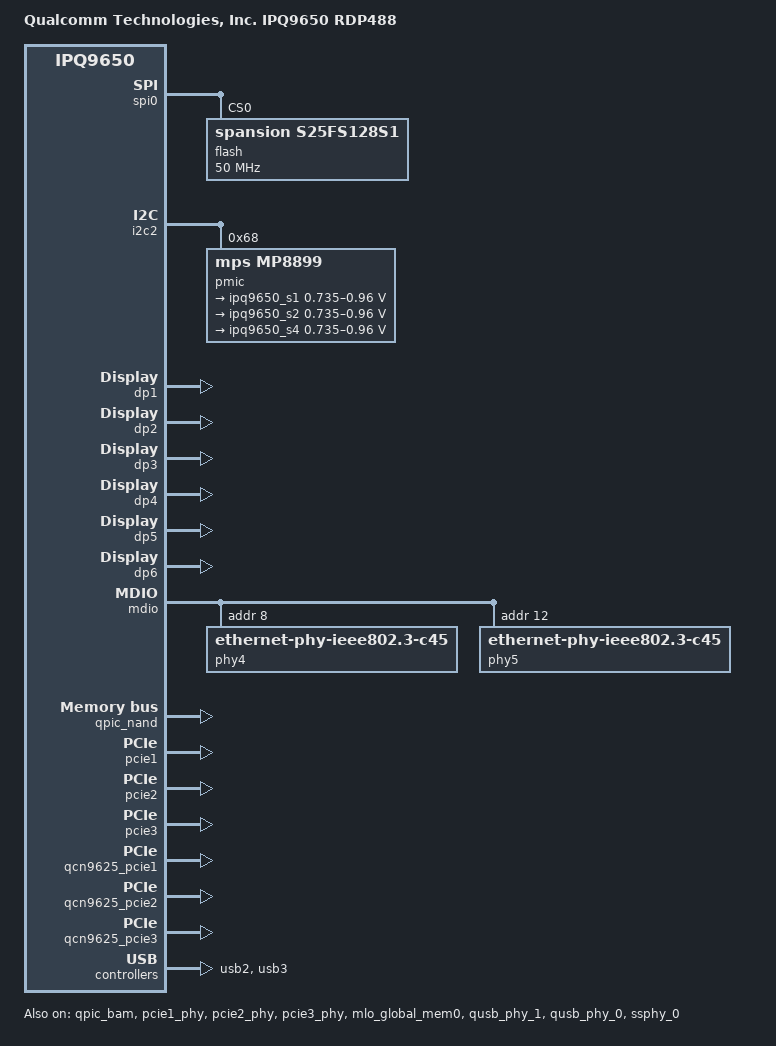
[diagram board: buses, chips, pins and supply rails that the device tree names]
// SPDX-License-Identifier: (GPL-2.0+ OR BSD-3-Clause)
/*
 * IPQ9650 RDP488 board device tree source
 *
 * Copyright (c) 2020-2021 The Linux Foundation. All rights reserved.
 * Copyright (c) Qualcomm Technologies, Inc. and/or its subsidiaries.
 */

/dts-v1/;

#include "ipq9650-rdp-common.dtsi"
#ifdef __IPQ_MEM_PROFILE_512_MB__
#include "ipq9650-512MB-default-memory.dtsi"
#else
#include "ipq9650-default-memory.dtsi"
#endif

/ {
	model = "Qualcomm Technologies, Inc. IPQ9650 RDP488";
	compatible = "qcom,ipq9650-rdp488", "qcom,ipq9650";

	aliases {
		ethernet0 = "/soc/dp1";
		ethernet1 = "/soc/dp2";
		ethernet2 = "/soc/dp3";
		ethernet3 = "/soc/dp4";
		ethernet4 = "/soc/dp5";
		ethernet5 = "/soc/dp6";
	};

	soc@0 {
		qupv3: geniqup@1ac0000 {
			status = "okay";

			spi0: spi@1a80000 {
				pinctrl-0 = <&qup_spi0_default>;
				pinctrl-names = "default";
				status = "okay";

				flash@0 {
					compatible = "spansion,s25fs128s1", "jedec,spi-nor";
					#address-cells = <1>;
					#size-cells = <1>;
					reg = <0>;
					spi-max-frequency = <50000000>;
				};
			};

			i2c0: i2c@1a84000 {
				pinctrl-0 = <&qup_i2c0_default>;
				pinctrl-names = "default";
				status = "disabled";
			};

			i2c2: i2c@1a8c000 {
				pinctrl-0 = <&qup_i2c2_default>;
				pinctrl-names = "default";
				status = "okay";

				pmic@68 {
					compatible = "mps,mp8899";
					reg = <0x68>;

					regulators {
						/* APC_CX */
						ipq9650_s1: buck1 {
							regulator-name = "buck1";
							regulator-min-microvolt = <735000>;
							regulator-max-microvolt = <960000>;
							regulator-always-on;
							regulator-boot-on;
						};

						/* NSP_CX */
						ipq9650_s2: buck2 {
							regulator-name = "buck2";
							regulator-min-microvolt = <735000>;
							regulator-max-microvolt = <960000>;
						};

						/* NSP_MX */
						ipq9650_s4: buck4 {
							regulator-name = "buck4";
							regulator-min-microvolt = <735000>;
							regulator-max-microvolt = <960000>;
						};
					};
				};
			};
		};

		dp1 {
			device_type = "network";
			compatible = "qcom,nss-dp";
			qcom,id = <1>;
			reg = <0x2a500000 0x4000>;
			qcom,mactype = <1>;
			local-mac-address = [000000000000];
			qcom,ppe-offload-disabled = <0>;
			pinctrl-0 = <&pps_state>;
			pinctrl-names = "default";
			interrupts = <GIC_SPI 362 IRQ_TYPE_EDGE_RISING>;
			interrupt-names = "pps_in";
			clocks = <&nsscc NSS_CC_XGMAC0_PTP_REF_CLK>;
			clock-names = "ptp";
		};

		dp2 {
			device_type = "network";
			compatible = "qcom,nss-dp";
			qcom,id = <2>;
			reg = <0x2a504000 0x4000>;
			qcom,mactype = <1>;
			local-mac-address = [000000000000];
			qcom,ppe-offload-disabled = <0>;
			clocks = <&nsscc NSS_CC_XGMAC1_PTP_REF_CLK>;
			clock-names = "ptp";
		};

		dp3 {
			device_type = "network";
			compatible = "qcom,nss-dp";
			qcom,id = <3>;
			reg = <0x2a508000 0x4000>;
			qcom,mactype = <1>;
			local-mac-address = [000000000000];
			qcom,ppe-offload-disabled = <0>;
			clocks = <&nsscc NSS_CC_XGMAC2_PTP_REF_CLK>;
			clock-names = "ptp";
		};

		dp4 {
			device_type = "network";
			compatible = "qcom,nss-dp";
			qcom,id = <4>;
			reg = <0x2a50c000 0x4000>;
			qcom,mactype = <1>;
			local-mac-address = [000000000000];
			qcom,ppe-offload-disabled = <0>;
			clocks = <&nsscc NSS_CC_XGMAC3_PTP_REF_CLK>;
			clock-names = "ptp";
		};

		dp5 {
			device_type = "network";
			compatible = "qcom,nss-dp";
			qcom,id = <5>;
			reg = <0x2a510000 0x4000>;
			qcom,mactype = <1>;
			local-mac-address = [000000000000];
			qcom,ppe-offload-disabled = <0>;
			clocks = <&nsscc NSS_CC_XGMAC4_PTP_REF_CLK>;
			clock-names = "ptp";
		};

		dp6 {
			device_type = "network";
			compatible = "qcom,nss-dp";
			qcom,id = <6>;
			reg = <0x2a514000 0x4000>;
			qcom,mactype = <1>;
			local-mac-address = [000000000000];
			qcom,ppe-offload-disabled = <0>;
			clocks = <&nsscc NSS_CC_XGMAC5_PTP_REF_CLK>;
			clock-names = "ptp";
		};
	};
};

&mdio {
	phy-reset-gpio = <&tlmm 18 GPIO_ACTIVE_LOW>, /* Reset for QCE1204. */
			 <&tlmm 14 GPIO_ACTIVE_LOW>; /* Reset for two QCA81XXs. */

	phy4: ethernet-phy@8 {
		compatible = "ethernet-phy-ieee802.3-c45";
		reg = <8>;
	};

	phy5: ethernet-phy@c {
		compatible = "ethernet-phy-ieee802.3-c45";
		reg = <12>;
	};
};

&ess_switch {
	switch_mac_mode1 = <0xd>; /* mac mode for uniphy instance1 */
	switch_mac_mode2 = <0xd>; /* mac mode for uniphy instance2 */

	qcom,port_phyinfo {
		port@4 {
			port_id = <5>;
			phy_address = <8>;
			phy-handle = <&phy4>;
			phy-mode = "usxgmii";
			ethernet-phy-ieee802.3-c45;
		};

		port@5 {
			port_id = <6>;
			phy_address = <12>;
			phy-handle = <&phy5>;
			phy-mode = "usxgmii";
			ethernet-phy-ieee802.3-c45;
		};
	};
};

&spi1 {
	compatible = "qcom,geni-spi";
	pinctrl-0 = <&se5_spi_pins>;
	pinctrl-names = "default";
	status = "disabled";

	spidev1: spi@0 {
		compatible = "qti,spidev";
		reg = <0>;
		spi-max-frequency = <9600000>;
	};
};

&pcm {
	pinctrl-0 = <&audio_pins_pri>;
	pinctrl-names = "primary";
	status = "disabled";
};

&qpic_bam {
	status = "okay";
};

&qpic_nand {
	status = "okay";
};

&sdhc {
	max-frequency = <192000000>;
	bus-width = <4>;
	mmc-ddr-1_8v;
	mmc-hs200-1_8v;
	non-removable;
	pinctrl-0 = <&sdc_default_state>;
	pinctrl-names = "default";
	status = "disabled";
};

&pcie1_phy {
	status = "okay";
};

&pcie1 {
	perst-gpio = <&tlmm 28 GPIO_ACTIVE_LOW>;
	status = "okay";

	pcie1_rp {
		reg = <0 0 0 0 0>;

		qcom,mhi@0 {
			reg = <0 0 0 0 0>;
			memory-region = <&qcn9625_pcie1>, <&mlo_global_mem0>;
			memory-region-names = "host-ddr-mem", "mlo-global-mem";
			qcom,board_id = <0x2002>;

			ports {
				#address-cells = <1>;
				#size-cells = <0>;

				port@0 {
					reg = <0>;

					wifi1_wsi_tx: endpoint {
						remote-endpoint = <&wifi3_wsi_rx>;
					};
				};

				port@1 {
					reg = <1>;

					wifi1_wsi_rx: endpoint {
						remote-endpoint = <&wifi2_wsi_tx>;
					};
				};
			};
		};
	};
};

&pcie2_phy {
	status = "okay";
};

&pcie2 {
	perst-gpio = <&tlmm 52 GPIO_ACTIVE_LOW>;
	status = "okay";

	pcie2_rp {
		reg = <0 0 0 0 0>;

		qcom,mhi@0 {
			reg = <0 0 0 0 0>;
			memory-region = <&qcn9625_pcie2>, <&mlo_global_mem0>;
			memory-region-names = "host-ddr-mem", "mlo-global-mem";
			qcom,board_id = <0x2001>;
			qcom,wsi-controller;

			ports {
				#address-cells = <1>;
				#size-cells = <0>;

				port@0 {
					reg = <0>;

					wifi2_wsi_tx: endpoint {
						remote-endpoint = <&wifi1_wsi_rx>;
					};
				};

				port@1 {
					reg = <1>;

					wifi2_wsi_rx: endpoint {
						remote-endpoint = <&wifi3_wsi_tx>;
					};
				};
			};
		};
	};
};

&pcie3_phy {
	status = "okay";
};

&pcie3 {
	perst-gpio = <&tlmm 41 GPIO_ACTIVE_LOW>;
	status = "okay";

	pcie3_rp {
		reg = <0 0 0 0 0>;

		qcom,mhi@0 {
			reg = <0 0 0 0 0>;
			memory-region = <&qcn9625_pcie3>, <&mlo_global_mem0>;
			memory-region-names = "host-ddr-mem", "mlo-global-mem";
			qcom,board_id = <0x2004>;

			ports {
				#address-cells = <1>;
				#size-cells = <0>;

				port@0 {
					reg = <0>;

					wifi3_wsi_tx: endpoint {
						remote-endpoint = <&wifi2_wsi_rx>;
					};
				};

				port@1 {
					reg = <1>;

					wifi3_wsi_rx: endpoint {
						remote-endpoint = <&wifi1_wsi_tx>;
					};
				};
			};
		};
	};
};

&qcn9625_pcie1 {
	status = "okay";
};

&qcn9625_pcie2 {
	status = "okay";
};

&qcn9625_pcie3 {
	status = "okay";
};

&mlo_global_mem0 {
	status = "okay";
};

&qusb_phy_1 {
	status = "okay";
};

&usb2 {
	status = "okay";
};

&qusb_phy_0 {
	status = "okay";
};

&ssphy_0 {
	status = "okay";
};

&usb3 {
	status = "okay";
};

&tlmm {
	audio_pins_pri: audio_pinmux_pri {
		mux_1 {
			pins = "gpio36";
			function = "audio_pri_d0";
			drive-strength = <16>;
			bias-pull-down;
		};

		mux_2 {
		    pins = "gpio37";
		    function = "audio_pri_d1";
		    drive-strength = <8>;
		    bias-pull-down;
		};

		mux_3 {
		    pins = "gpio38";
		    function = "audio_pri_fsync";
		    drive-strength = <8>;
		    bias-pull-down;
		};

		mux_4 {
		    pins = "gpio39";
		    function = "audio_pri_pclk";
		    drive-strength = <8>;
		    bias-pull-down;
		};
	};

	qup_i2c0_default: qup-i2c0-default-state {
		qup_i2c0_scl {
			pins = "gpio10";
			function = "qup_se1_l1";
			drive-strength = <8>;
			bias-pull-down;
		};
		qup_i2c0_sda {
			pins = "gpio11";
			function = "qup_se1_l0";
			drive-strength = <8>;
			bias-pull-down;
		};
	};

	pcie0_default_state: pcie0-default-state {
		perst-n-pins {
			pins = "gpio25";
			function = "gpio";
			drive-strength = <8>;
			bias-pull-down;
			output-low;
		};
	};

	pcie1_default_state: pcie1-default-state {
		perst-n-pins {
			pins = "gpio28";
			function = "gpio";
			drive-strength = <8>;
			bias-pull-down;
			output-low;
		};
	};

	pcie2_default_state: pcie2-default-state {
		perst-n-pins {
			pins = "gpio52";
			function = "gpio";
			drive-strength = <8>;
			bias-pull-down;
			output-low;
		};
	};

	pcie3_default_state: pcie3-default-state {
		perst-n-pins {
			pins = "gpio41";
			function = "gpio";
			drive-strength = <8>;
			bias-pull-down;
			output-low;
		};
	};

	pcie4_default_state: pcie4-default-state {
		perst-n-pins {
			pins = "gpio31";
			function = "gpio";
			drive-strength = <8>;
			bias-pull-down;
			output-low;
		};
	};

	sdc_default_state: sdc-default-state {
		clk-pins {
			pins = "gpio5";
			function = "sdc_clk";
			drive-strength = <8>;
			bias-disable;
		};

		cmd-pins {
			pins = "gpio4";
			function = "sdc_cmd";
			drive-strength = <8>;
			bias-pull-up;
		};

		data-pins {
			pins = "gpio0", "gpio1", "gpio2", "gpio3";
			function = "sdc_data";
			drive-strength = <8>;
			bias-pull-up;
		};
	};

	se5_spi_pins: se5-spi-pins {
		spi_clk {
			pins = "gpio45";
			function = "qup_se5_l2";
			drive-strength = <4>;
			bias-pull-down;
		};
		spi_cs {
			pins = "gpio46";
			function = "qup_se5_l3";
			drive-strength = <4>;
			bias-pull-up;
		};
		spi_miso {
			pins = "gpio47";
			function = "qup_se5_l0";
			drive-strength = <16>;
			bias-pull-down;
		};
		spi_mosi {
			pins = "gpio48";
			function = "qup_se5_l1";
			drive-strength = <16>;
			bias-pull-down;
		};
	};
};

&CPU0 {
	cpu-supply = <&ipq9650_s1>;
};

&CPU1 {
	cpu-supply = <&ipq9650_s1>;
};

&CPU2 {
	cpu-supply = <&ipq9650_s1>;
};

&CPU3 {
	cpu-supply = <&ipq9650_s1>;
};

&CPU4 {
	cpu-supply = <&ipq9650_s1>;
};

&cdsp_power {
	vdd-cx-supply = <&ipq9650_s2>;
	vdd-mx-supply = <&ipq9650_s4>;
};

&remoteproc_cdsp {
	cx-supply = <&cdsp_vdd_cx>;
	mx-supply = <&cdsp_vdd_mx>;
};
